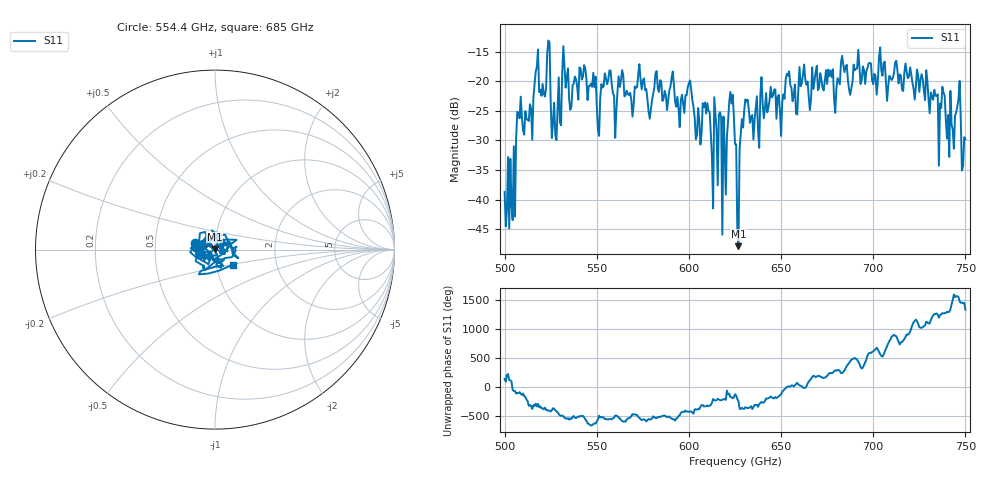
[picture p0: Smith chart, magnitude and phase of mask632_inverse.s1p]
!Created with skrf (http://scikit-rf.org).
# GHz S MA R 50.0
!freq magS11 angS11
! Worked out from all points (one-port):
!   401 points, 500 GHz to 750 GHz, reference 50 ohm
!   lowest |S11| = -47.9 dB at 626.9 GHz (marker M1), VSWR 1.01, Z = 49.8 + j0.367 ohm
!   |S11| at or under -10 dB: start of sweep to end of sweep
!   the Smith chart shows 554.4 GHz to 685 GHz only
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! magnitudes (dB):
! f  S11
! 500 GHz  -38.7
! 505 GHz  -31.0
! 507.5 GHz  -25.3
! 513.8 GHz  -23.9
! 516.9 GHz  -18.4
! 521.2 GHz  -22.1
! 523.8 GHz  -13.1
! 526.9 GHz  -23.6
! 531.2 GHz  -18.6
! 542.5 GHz  -19.2
! 551.2 GHz  -29.2
! 562.5 GHz  -21.0
! 590.6 GHz  -19.4
! 593.8 GHz  -22.6
! 610 GHz  -23.7
! 611.9 GHz  -28.8
! 615 GHz  -28.3
! 619.4 GHz  -30.9
! 623.1 GHz  -23.8
! 625 GHz  -30.6
! 626.9 GHz  -47.9
! 631.2 GHz  -23.4
! 656.2 GHz  -23.4
! 687.5 GHz  -22.3
! 718.8 GHz  -19.5
! 742.5 GHz  -27.3
! 746.2 GHz  -23.1
! 750 GHz  -29.8
